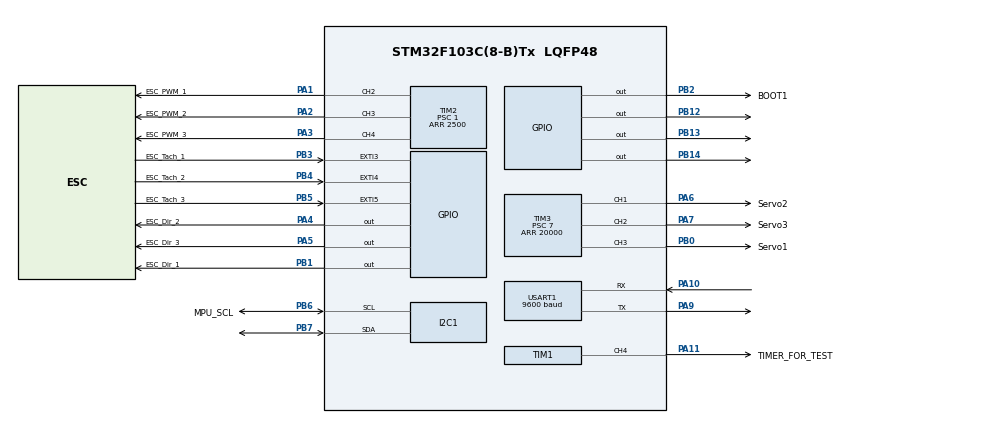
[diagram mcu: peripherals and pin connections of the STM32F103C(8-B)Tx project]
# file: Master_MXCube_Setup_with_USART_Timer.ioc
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Mcu.Family=STM32F1
Mcu.Name=STM32F103C(8-B)Tx
Mcu.Package=LQFP48
NVIC.EXTI3_IRQn=true\:0\:0\:false\:false\:true\:true
NVIC.EXTI4_IRQn=true\:0\:0\:false\:false\:true\:true
NVIC.EXTI9_5_IRQn=true\:0\:0\:false\:false\:true\:true
NVIC.PriorityGroup=NVIC_PRIORITYGROUP_4
PA1.GPIO_Label=ESC_PWM_1
PA1.Signal=S_TIM2_CH2
PA10.Mode=Asynchronous
PA10.Signal=USART1_RX
PA11.GPIO_Label=TIMER_FOR_TEST
PA11.Signal=S_TIM1_CH4
PA13.GPIO_Label=DEBUG_SWDIO
PA13.Mode=Serial_Wire
PA13.Signal=SYS_JTMS-SWDIO
PA14.GPIO_Label=DEBUG_SWCLK
PA14.Mode=Serial_Wire
PA14.Signal=SYS_JTCK-SWCLK
PA2.GPIO_Label=ESC_PWM_2
PA2.Signal=S_TIM2_CH3
PA3.GPIO_Label=ESC_PWM_3
PA3.Signal=S_TIM2_CH4
PA4.GPIO_Label=ESC_Dir_2
PA4.GPIO_PuPd=GPIO_PULLDOWN
PA4.Signal=GPIO_Output
PA5.GPIO_Label=ESC_Dir_3
PA5.GPIO_PuPd=GPIO_PULLDOWN
PA5.Signal=GPIO_Output
PA6.GPIO_Label=Servo2
PA6.Signal=S_TIM3_CH1
PA7.GPIO_Label=Servo3
PA7.Signal=S_TIM3_CH2
PA9.Mode=Asynchronous
PA9.Signal=USART1_TX
PB0.GPIO_Label=Servo1
PB0.Signal=S_TIM3_CH3
PB1.GPIO_Label=ESC_Dir_1
PB1.GPIO_PuPd=GPIO_PULLDOWN
PB1.Signal=GPIO_Output
PB12.Signal=GPIO_Output
PB13.Signal=GPIO_Output
PB14.Signal=GPIO_Output
PB2.GPIO_Label=BOOT1
PB2.Signal=GPIO_Output
PB3.GPIO_Label=ESC_Tach_1
PB3.Signal=GPXTI3
PB4.GPIO_Label=ESC_Tach_2
PB4.Signal=GPXTI4
PB5.GPIO_Label=ESC_Tach_3
PB5.Signal=GPXTI5
PB6.GPIO_Label=MPU_SCL
PB6.Mode=I2C
PB6.Signal=I2C1_SCL
PB7.Mode=I2C
PB7.Signal=I2C1_SDA
ProjectManager.HeapSize=0x200
ProjectManager.StackSize=0x400
ProjectManager.TargetToolchain=TrueSTUDIO
RCC.APB1Freq_Value=8000000
RCC.APB2Freq_Value=8000000
SH.S_TIM1_CH4.0=TIM1_CH4,PWM Generation4 CH4
SH.S_TIM2_CH2.0=TIM2_CH2,PWM Generation2 CH2
SH.S_TIM2_CH3.0=TIM2_CH3,PWM Generation3 CH3
SH.S_TIM2_CH4.0=TIM2_CH4,PWM Generation4 CH4
SH.S_TIM3_CH1.0=TIM3_CH1,PWM Generation1 CH1
SH.S_TIM3_CH2.0=TIM3_CH2,PWM Generation2 CH2
SH.S_TIM3_CH3.0=TIM3_CH3,PWM Generation3 CH3
TIM1.Channel-PWM\ Generation4\ CH4=TIM_CHANNEL_4
TIM1.Period=32705
TIM1.Prescaler=243
TIM2.Channel-PWM\ Generation2\ CH2=TIM_CHANNEL_2
TIM2.Channel-PWM\ Generation3\ CH3=TIM_CHANNEL_3
TIM2.Channel-PWM\ Generation4\ CH4=TIM_CHANNEL_4
TIM2.Period=2500
TIM2.Prescaler=1
TIM3.Channel-PWM\ Generation1\ CH1=TIM_CHANNEL_1
TIM3.Channel-PWM\ Generation2\ CH2=TIM_CHANNEL_2
TIM3.Channel-PWM\ Generation3\ CH3=TIM_CHANNEL_3
TIM3.Period=20000
TIM3.Prescaler=7
USART1.BaudRate=9600
USART1.VirtualMode=VM_ASYNC
VP_TIM1_VS_ClockSourceINT.Mode=Internal
VP_TIM2_VS_ClockSourceINT.Mode=Internal
VP_TIM3_VS_ClockSourceINT.Mode=Internal
board=custom

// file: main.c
/**
  ******************************************************************************
  * @file           : main.c
  * @brief          : Main program body
  ******************************************************************************
  ** This notice applies to any and all portions of this file
  * that are not between comment pairs USER CODE BEGIN and
  * USER CODE END. Other portions of this file, whether
  * inserted by the user or by software development tools
  * are owned by their respective copyright owners.
  *
  * COPYRIGHT(c) 2019 STMicroelectronics
  *
  * Redistribution and use in source and binary forms, with or without modification,
  * are permitted provided that the following conditions are met:
  *   1. Redistributions of source code must retain the above copyright notice,
  *      this list of conditions and the following disclaimer.
  *   2. Redistributions in binary form must reproduce the above copyright notice,
  *      this list of conditions and the following disclaimer in the documentation
  *      and/or other materials provided with the distribution.
  *   3. Neither the name of STMicroelectronics nor the names of its contributors
  *      may be used to endorse or promote products derived from this software
  *      without specific prior written permission.
  *
  * THIS SOFTWARE IS PROVIDED BY THE COPYRIGHT HOLDERS AND CONTRIBUTORS "AS IS"
  * AND ANY EXPRESS OR IMPLIED WARRANTIES, INCLUDING, BUT NOT LIMITED TO, THE
  * IMPLIED WARRANTIES OF MERCHANTABILITY AND FITNESS FOR A PARTICULAR PURPOSE ARE
  * DISCLAIMED. IN NO EVENT SHALL THE COPYRIGHT HOLDER OR CONTRIBUTORS BE LIABLE
  * FOR ANY DIRECT, INDIRECT, INCIDENTAL, SPECIAL, EXEMPLARY, OR CONSEQUENTIAL
  * DAMAGES (INCLUDING, BUT NOT LIMITED TO, PROCUREMENT OF SUBSTITUTE GOODS OR
  * SERVICES; LOSS OF USE, DATA, OR PROFITS; OR BUSINESS INTERRUPTION) HOWEVER
  * CAUSED AND ON ANY THEORY OF LIABILITY, WHETHER IN CONTRACT, STRICT LIABILITY,
  * OR TORT (INCLUDING NEGLIGENCE OR OTHERWISE) ARISING IN ANY WAY OUT OF THE USE
  * OF THIS SOFTWARE, EVEN IF ADVISED OF THE POSSIBILITY OF SUCH DAMAGE.
  *
  ******************************************************************************
  */
#include "main.h"
#include "stm32f1xx_hal.h"

/* USER CODE BEGIN Includes */
#include <stdlib.h>
/* USER CODE END Includes */

I2C_HandleTypeDef hi2c1;

TIM_HandleTypeDef htim1;
TIM_HandleTypeDef htim2;
TIM_HandleTypeDef htim3;

UART_HandleTypeDef huart1;

/* USER CODE BEGIN PV */
/* Private variables ---------------------------------------------------------*/
	uint32_t count1 = 2;
	uint32_t countPrev1 = 1;
	uint32_t dummy1;
	int32_t stepCount1 = 600;
	int16_t freq1 = 0;

/* USER CODE END PV */

void SystemClock_Config(void);
static void MX_GPIO_Init(void);
static void MX_USART1_UART_Init(void);
static void MX_I2C1_Init(void);
static void MX_TIM2_Init(void);
static void MX_TIM3_Init(void);
static void MX_TIM1_Init(void);

void HAL_TIM_MspPostInit(TIM_HandleTypeDef *htim);

/* USER CODE BEGIN PFP */
/* Private function prototypes -----------------------------------------------*/
void toggleLED(){
		count1 = (uint32_t)__HAL_TIM_GET_COUNTER(&htim1); // Gets current counter value when interrupt is triggered

		if(count1 != countPrev1){
			  		  stepCount1 = count1 - countPrev1;
			  		  if(stepCount1 < 0){
			  			  stepCount1 = stepCount1 + 32705; // accounts for a roll over in the timer
			  		  }

			  		  freq1 =  32705/stepCount1; // PWM Period * number of steps in a period / number of steps counted

			  		  dummy1 = countPrev1;
			  		  countPrev1 = count1;
			  	  }

	}

/* USER CODE END PFP */

/* USER CODE BEGIN 0 */

//Stuff for Bluetooth
uint8_t dataRX[10];
uint8_t dataTX[100];
uint8_t loopCount;

//Stuff for MPU
uint8_t i2cBuff[15];
uint16_t mpu6050Address = 0xD0;
int16_t gx,gy,gz,ax,ay,az;
float Xang, Yang, ZangVel, XangVel, YangVel, Zang, Xacc, Yacc, Zacc;
uint8_t outstrX[10];
uint8_t outstrY[10];
uint8_t outstrZ[10];

/* USER CODE END 0 */

int main(void)
{

  /* MCU Configuration----------------------------------------------------------*/

  /* Reset of all peripherals, Initializes the Flash interface and the Systick. */
  HAL_Init();

  /* Configure the system clock */
  SystemClock_Config();

  /* Initialize all configured peripherals */
  MX_GPIO_Init();
  MX_USART1_UART_Init();
  MX_I2C1_Init();
  MX_TIM2_Init();
  MX_TIM3_Init();
  MX_TIM1_Init();
  /* USER CODE BEGIN 2 */

  HAL_TIM_PWM_Start(&htim2, TIM_CHANNEL_2);
  HAL_TIM_PWM_Start(&htim3, TIM_CHANNEL_3);
  HAL_TIM_PWM_Start(&htim1, TIM_CHANNEL_4);

  //Wake up MPU
    i2cBuff[0] = 0x6B;
    i2cBuff[1] = 0x00;
    HAL_I2C_Master_Transmit(&hi2c1, mpu6050Address, i2cBuff, 2, 100);

    //Set Gyro Range
    i2cBuff[0] = 0x27;
    i2cBuff[1] = 0x00;
    HAL_I2C_Master_Transmit(&hi2c1, mpu6050Address, i2cBuff, 2, 100);

  /* USER CODE END 2 */

  /* Infinite loop */
  /* USER CODE BEGIN WHILE */
  while (1)
  {
	  __HAL_TIM_SET_COMPARE(&htim1, TIM_CHANNEL_4, 16352);
	  __HAL_TIM_SET_COMPARE(&htim2, TIM_CHANNEL_2, 1500);
	  __HAL_TIM_SET_COMPARE(&htim3, TIM_CHANNEL_3, 10000);

  /* USER CODE END WHILE */

  /* USER CODE BEGIN 3 */
	  //For testing
	  	  	  HAL_GPIO_WritePin(GPIOB, GPIO_PIN_14, 1);

	  	  	  /*
	  	  	  //Get gyroscope info
	  	  	  i2cBuff[0]= 0x3B; //Gyroscope addresses
	  	  	  HAL_I2C_Master_Transmit(&hi2c1, mpu6050Address, i2cBuff, 1, 20);
	  	  	  i2cBuff[1] = 0x00;
	  	  	  HAL_I2C_Master_Receive(&hi2c1, mpu6050Address, &i2cBuff[1], 14, 20);
	  	  	   */
	  	  	  ax = (i2cBuff[1]<<8 | i2cBuff[2]);
	  	  	  ay = (i2cBuff[3]<<8 | i2cBuff[4]);
	  	  	  az = (i2cBuff[5]<<8 | i2cBuff[6]);

	  	  	  gx = (i2cBuff[9]<<8  | i2cBuff[10]);
	  	  	  gy = (i2cBuff[11]<<8 | i2cBuff[12]);
	  	  	  gz = (i2cBuff[13]<<8 | i2cBuff[14]);

	  	  	  //Add offsets
	  	  	  gx +=  485; //X-Offset
	  	  	  gy += -104; //Y-Offset
	  	  	  gz += -100; //Z-Offset
	  	  	  ax += 82; //X-Offset
	  	  	  ay += 655; //Y-Offset
	  	  	  az += 1802; //Z-Offset

	  	  	  //Convert to deg/sec
	  	  	  XangVel = ((float)gx / 32768) * 250;
	  	  	  YangVel = ((float)gy / 32768) * 250;
	  	  	  ZangVel = ((float)gz / 32768) * 250;

	  	  	  //Integrate angular velocities
	  	  	  Xang += XangVel * 0.01; //Using a sampling rate of 10 ms
	  	  	  Yang += YangVel * 0.01;
	  	  	  Zang += ZangVel * 0.01;

	  	  	  //Convert to g
	  	  	  Xacc = ((float)ax / 32768) * 2;
	  	  	  Yacc = ((float)ay / 32768) * 2;
	  	  	  Zacc = ((float)az / 32768) * 2;

	  	  	  if (loopCount == 0) {
	  	  	  //Send info to Bluetooth for testing purposes
	  	  	  //There is no support for printing floats in the STM32
	  	  	  //This converts the floats to a series of three ints
	  	  	  char *XSign = (Xacc < 0) ? "-" : "";
	  	  	  float XVal = (Xacc < 0) ? -Xacc : Xacc;
	  	  	  int XInt1 = XVal;                      // Get the integer
	  	  	  float XFrac = XVal - XInt1;            // Get fraction
	  	  	  int XInt2 = trunc(XFrac * 100);        // Turn into integer

	  	  	  char *YSign = (Yacc < 0) ? "-" : "";
	  	  	  float YVal = (Yacc < 0) ? -Yacc : Yacc;
	  	  	  int YInt1 = YVal;                      // Get the integer
	  	  	  float YFrac = YVal - YInt1;            // Get fraction
	  	  	  int YInt2 = trunc(YFrac * 100);        // Turn into integer

	  	  	  char *ZSign = (Zacc < 0) ? "-" : "";
	  	  	  float ZVal = (Zacc < 0) ? -Zacc : Zacc;
	  	  	  int ZInt1 = ZVal;                      // Get the integer
	  	  	  float ZFrac = ZVal - ZInt1;            // Get fraction
	  	  	  int ZInt2 = trunc(ZFrac * 100);        // Turn into integer
	  	  	  /*
	  	  	  sprintf(dataTX, "Xacc = %s%d.%02d, Yacc = %s%d.%02d, Zacc = %s%d.%02d\n",
	  	  	  		  XSign, XInt1, XInt2, YSign, YInt1, YInt2, ZSign, ZInt1, ZInt2);
	  	  	   */

	  	  	  sprintf(dataTX, "Frequency = %d\r\n", freq1);

	  	  	  //Send Bluetooth
	  	  	  //HAL_UART_Receive(&huart2, dataRX, 10, 1000);
	  	  	  HAL_UART_Transmit(&huart1, dataTX, strlen(dataTX), 1000);

	  	  	  }
	  	  	  loopCount++;

	  	  	  //For testing
	  	  	  HAL_GPIO_WritePin(GPIOB, GPIO_PIN_14, 0);
	  	  	  HAL_Delay(10);

  }
  /* USER CODE END 3 */

}

void SystemClock_Config(void)
{

  RCC_OscInitTypeDef RCC_OscInitStruct;
  RCC_ClkInitTypeDef RCC_ClkInitStruct;

    /**Initializes the CPU, AHB and APB busses clocks
    */
  RCC_OscInitStruct.OscillatorType = RCC_OSCILLATORTYPE_HSI;
  RCC_OscInitStruct.HSIState = RCC_HSI_ON;
  RCC_OscInitStruct.HSICalibrationValue = 16;
  RCC_OscInitStruct.PLL.PLLState = RCC_PLL_NONE;
  if (HAL_RCC_OscConfig(&RCC_OscInitStruct) != HAL_OK)
  {
    _Error_Handler(__FILE__, __LINE__);
  }

    /**Initializes the CPU, AHB and APB busses clocks
    */
  RCC_ClkInitStruct.ClockType = RCC_CLOCKTYPE_HCLK|RCC_CLOCKTYPE_SYSCLK
                              |RCC_CLOCKTYPE_PCLK1|RCC_CLOCKTYPE_PCLK2;
  RCC_ClkInitStruct.SYSCLKSource = RCC_SYSCLKSOURCE_HSI;
  RCC_ClkInitStruct.AHBCLKDivider = RCC_SYSCLK_DIV1;
  RCC_ClkInitStruct.APB1CLKDivider = RCC_HCLK_DIV1;
  RCC_ClkInitStruct.APB2CLKDivider = RCC_HCLK_DIV1;

  if (HAL_RCC_ClockConfig(&RCC_ClkInitStruct, FLASH_LATENCY_0) != HAL_OK)
  {
    _Error_Handler(__FILE__, __LINE__);
  }

    /**Configure the Systick interrupt time
    */
  HAL_SYSTICK_Config(HAL_RCC_GetHCLKFreq()/1000);

    /**Configure the Systick
    */
  HAL_SYSTICK_CLKSourceConfig(SYSTICK_CLKSOURCE_HCLK);

  /* SysTick_IRQn interrupt configuration */
  HAL_NVIC_SetPriority(SysTick_IRQn, 0, 0);
}

/* I2C1 init function */
static void MX_I2C1_Init(void)
{

  hi2c1.Instance = I2C1;
  hi2c1.Init.ClockSpeed = 100000;
  hi2c1.Init.DutyCycle = I2C_DUTYCYCLE_2;
  hi2c1.Init.OwnAddress1 = 0;
  hi2c1.Init.AddressingMode = I2C_ADDRESSINGMODE_7BIT;
  hi2c1.Init.DualAddressMode = I2C_DUALADDRESS_DISABLE;
  hi2c1.Init.OwnAddress2 = 0;
  hi2c1.Init.GeneralCallMode = I2C_GENERALCALL_DISABLE;
  hi2c1.Init.NoStretchMode = I2C_NOSTRETCH_DISABLE;
  if (HAL_I2C_Init(&hi2c1) != HAL_OK)
  {
    _Error_Handler(__FILE__, __LINE__);
  }

}

/* TIM1 init function */
static void MX_TIM1_Init(void)
{

  TIM_ClockConfigTypeDef sClockSourceConfig;
  TIM_MasterConfigTypeDef sMasterConfig;
  TIM_OC_InitTypeDef sConfigOC;
  TIM_BreakDeadTimeConfigTypeDef sBreakDeadTimeConfig;

  htim1.Instance = TIM1;
  htim1.Init.Prescaler = 243;
  htim1.Init.CounterMode = TIM_COUNTERMODE_UP;
  htim1.Init.Period = 32705;
  htim1.Init.ClockDivision = TIM_CLOCKDIVISION_DIV1;
  htim1.Init.RepetitionCounter = 0;
  htim1.Init.AutoReloadPreload = TIM_AUTORELOAD_PRELOAD_DISABLE;
  if (HAL_TIM_Base_Init(&htim1) != HAL_OK)
  {
    _Error_Handler(__FILE__, __LINE__);
  }

  sClockSourceConfig.ClockSource = TIM_CLOCKSOURCE_INTERNAL;
  if (HAL_TIM_ConfigClockSource(&htim1, &sClockSourceConfig) != HAL_OK)
  {
    _Error_Handler(__FILE__, __LINE__);
  }

  if (HAL_TIM_PWM_Init(&htim1) != HAL_OK)
  {
    _Error_Handler(__FILE__, __LINE__);
  }

  sMasterConfig.MasterOutputTrigger = TIM_TRGO_RESET;
  sMasterConfig.MasterSlaveMode = TIM_MASTERSLAVEMODE_DISABLE;
  if (HAL_TIMEx_MasterConfigSynchronization(&htim1, &sMasterConfig) != HAL_OK)
  {
    _Error_Handler(__FILE__, __LINE__);
  }

  sConfigOC.OCMode = TIM_OCMODE_PWM1;
  sConfigOC.Pulse = 0;
  sConfigOC.OCPolarity = TIM_OCPOLARITY_HIGH;
  sConfigOC.OCFastMode = TIM_OCFAST_DISABLE;
  sConfigOC.OCIdleState = TIM_OCIDLESTATE_RESET;
  sConfigOC.OCNIdleState = TIM_OCNIDLESTATE_RESET;
  if (HAL_TIM_PWM_ConfigChannel(&htim1, &sConfigOC, TIM_CHANNEL_4) != HAL_OK)
  {
    _Error_Handler(__FILE__, __LINE__);
  }

  sBreakDeadTimeConfig.OffStateRunMode = TIM_OSSR_DISABLE;
  sBreakDeadTimeConfig.OffStateIDLEMode = TIM_OSSI_DISABLE;
  sBreakDeadTimeConfig.LockLevel = TIM_LOCKLEVEL_OFF;
  sBreakDeadTimeConfig.DeadTime = 0;
  sBreakDeadTimeConfig.BreakState = TIM_BREAK_DISABLE;
  sBreakDeadTimeConfig.BreakPolarity = TIM_BREAKPOLARITY_HIGH;
  sBreakDeadTimeConfig.AutomaticOutput = TIM_AUTOMATICOUTPUT_DISABLE;
  if (HAL_TIMEx_ConfigBreakDeadTime(&htim1, &sBreakDeadTimeConfig) != HAL_OK)
  {
    _Error_Handler(__FILE__, __LINE__);
  }

  HAL_TIM_MspPostInit(&htim1);

}

/* TIM2 init function */
static void MX_TIM2_Init(void)
{

  TIM_ClockConfigTypeDef sClockSourceConfig;
  TIM_MasterConfigTypeDef sMasterConfig;
  TIM_OC_InitTypeDef sConfigOC;

  htim2.Instance = TIM2;
  htim2.Init.Prescaler = 1;
  htim2.Init.CounterMode = TIM_COUNTERMODE_UP;
  htim2.Init.Period = 2500;
  htim2.Init.ClockDivision = TIM_CLOCKDIVISION_DIV1;
  htim2.Init.AutoReloadPreload = TIM_AUTORELOAD_PRELOAD_DISABLE;
  if (HAL_TIM_Base_Init(&htim2) != HAL_OK)
  {
    _Error_Handler(__FILE__, __LINE__);
  }

  sClockSourceConfig.ClockSource = TIM_CLOCKSOURCE_INTERNAL;
  if (HAL_TIM_ConfigClockSource(&htim2, &sClockSourceConfig) != HAL_OK)
  {
    _Error_Handler(__FILE__, __LINE__);
  }

  if (HAL_TIM_PWM_Init(&htim2) != HAL_OK)
  {
    _Error_Handler(__FILE__, __LINE__);
  }

  sMasterConfig.MasterOutputTrigger = TIM_TRGO_RESET;
  sMasterConfig.MasterSlaveMode = TIM_MASTERSLAVEMODE_DISABLE;
  if (HAL_TIMEx_MasterConfigSynchronization(&htim2, &sMasterConfig) != HAL_OK)
  {
    _Error_Handler(__FILE__, __LINE__);
  }

  sConfigOC.OCMode = TIM_OCMODE_PWM1;
  sConfigOC.Pulse = 0;
  sConfigOC.OCPolarity = TIM_OCPOLARITY_HIGH;
  sConfigOC.OCFastMode = TIM_OCFAST_DISABLE;
  if (HAL_TIM_PWM_ConfigChannel(&htim2, &sConfigOC, TIM_CHANNEL_2) != HAL_OK)
  {
    _Error_Handler(__FILE__, __LINE__);
  }

  if (HAL_TIM_PWM_ConfigChannel(&htim2, &sConfigOC, TIM_CHANNEL_3) != HAL_OK)
  {
    _Error_Handler(__FILE__, __LINE__);
  }

  if (HAL_TIM_PWM_ConfigChannel(&htim2, &sConfigOC, TIM_CHANNEL_4) != HAL_OK)
  {
    _Error_Handler(__FILE__, __LINE__);
  }

  HAL_TIM_MspPostInit(&htim2);

}

/* TIM3 init function */
static void MX_TIM3_Init(void)
{

  TIM_ClockConfigTypeDef sClockSourceConfig;
  TIM_MasterConfigTypeDef sMasterConfig;
  TIM_OC_InitTypeDef sConfigOC;

  htim3.Instance = TIM3;
  htim3.Init.Prescaler = 7;
  htim3.Init.CounterMode = TIM_COUNTERMODE_UP;
  htim3.Init.Period = 20000;
  htim3.Init.ClockDivision = TIM_CLOCKDIVISION_DIV1;
  htim3.Init.AutoReloadPreload = TIM_AUTORELOAD_PRELOAD_DISABLE;
  if (HAL_TIM_Base_Init(&htim3) != HAL_OK)
  {
    _Error_Handler(__FILE__, __LINE__);
  }

  sClockSourceConfig.ClockSource = TIM_CLOCKSOURCE_INTERNAL;
  if (HAL_TIM_ConfigClockSource(&htim3, &sClockSourceConfig) != HAL_OK)
  {
    _Error_Handler(__FILE__, __LINE__);
  }

  if (HAL_TIM_PWM_Init(&htim3) != HAL_OK)
  {
    _Error_Handler(__FILE__, __LINE__);
  }

  sMasterConfig.MasterOutputTrigger = TIM_TRGO_RESET;
  sMasterConfig.MasterSlaveMode = TIM_MASTERSLAVEMODE_DISABLE;
  if (HAL_TIMEx_MasterConfigSynchronization(&htim3, &sMasterConfig) != HAL_OK)
  {
    _Error_Handler(__FILE__, __LINE__);
  }

  sConfigOC.OCMode = TIM_OCMODE_PWM1;
  sConfigOC.Pulse = 0;
  sConfigOC.OCPolarity = TIM_OCPOLARITY_HIGH;
  sConfigOC.OCFastMode = TIM_OCFAST_DISABLE;
  if (HAL_TIM_PWM_ConfigChannel(&htim3, &sConfigOC, TIM_CHANNEL_1) != HAL_OK)
  {
    _Error_Handler(__FILE__, __LINE__);
  }

  if (HAL_TIM_PWM_ConfigChannel(&htim3, &sConfigOC, TIM_CHANNEL_2) != HAL_OK)
  {
    _Error_Handler(__FILE__, __LINE__);
  }

  if (HAL_TIM_PWM_ConfigChannel(&htim3, &sConfigOC, TIM_CHANNEL_3) != HAL_OK)
  {
    _Error_Handler(__FILE__, __LINE__);
  }

  HAL_TIM_MspPostInit(&htim3);

}

/* USART1 init function */
static void MX_USART1_UART_Init(void)
{

  huart1.Instance = USART1;
  huart1.Init.BaudRate = 9600;
  huart1.Init.WordLength = UART_WORDLENGTH_8B;
  huart1.Init.StopBits = UART_STOPBITS_1;
  huart1.Init.Parity = UART_PARITY_NONE;
  huart1.Init.Mode = UART_MODE_TX_RX;
  huart1.Init.HwFlowCtl = UART_HWCONTROL_NONE;
  huart1.Init.OverSampling = UART_OVERSAMPLING_16;
  if (HAL_UART_Init(&huart1) != HAL_OK)
  {
    _Error_Handler(__FILE__, __LINE__);
  }

}

/** Configure pins as
        * Analog
        * Input
        * Output
        * EVENT_OUT
        * EXTI
*/
static void MX_GPIO_Init(void)
{

  GPIO_InitTypeDef GPIO_InitStruct;

  /* GPIO Ports Clock Enable */
  __HAL_RCC_GPIOA_CLK_ENABLE();
  __HAL_RCC_GPIOB_CLK_ENABLE();

  /*Configure GPIO pin Output Level */
  HAL_GPIO_WritePin(GPIOA, ESC_Dir_2_Pin|ESC_Dir_3_Pin, GPIO_PIN_RESET);

  /*Configure GPIO pin Output Level */
  HAL_GPIO_WritePin(GPIOB, ESC_Dir_1_Pin|BOOT1_Pin|GPIO_PIN_12|GPIO_PIN_13
                          |GPIO_PIN_14, GPIO_PIN_RESET);

  /*Configure GPIO pins : ESC_Dir_2_Pin ESC_Dir_3_Pin */
  GPIO_InitStruct.Pin = ESC_Dir_2_Pin|ESC_Dir_3_Pin;
  GPIO_InitStruct.Mode = GPIO_MODE_OUTPUT_PP;
  GPIO_InitStruct.Pull = GPIO_PULLDOWN;
  GPIO_InitStruct.Speed = GPIO_SPEED_FREQ_LOW;
  HAL_GPIO_Init(GPIOA, &GPIO_InitStruct);

  /*Configure GPIO pin : ESC_Dir_1_Pin */
  GPIO_InitStruct.Pin = ESC_Dir_1_Pin;
  GPIO_InitStruct.Mode = GPIO_MODE_OUTPUT_PP;
  GPIO_InitStruct.Pull = GPIO_PULLDOWN;
  GPIO_InitStruct.Speed = GPIO_SPEED_FREQ_LOW;
  HAL_GPIO_Init(ESC_Dir_1_GPIO_Port, &GPIO_InitStruct);

  /*Configure GPIO pins : BOOT1_Pin PB12 PB13 PB14 */
  GPIO_InitStruct.Pin = BOOT1_Pin|GPIO_PIN_12|GPIO_PIN_13|GPIO_PIN_14;
  GPIO_InitStruct.Mode = GPIO_MODE_OUTPUT_PP;
  GPIO_InitStruct.Pull = GPIO_NOPULL;
  GPIO_InitStruct.Speed = GPIO_SPEED_FREQ_LOW;
  HAL_GPIO_Init(GPIOB, &GPIO_InitStruct);

  /*Configure GPIO pins : ESC_Tach_1_Pin ESC_Tach_2_Pin ESC_Tach_3_Pin */
  GPIO_InitStruct.Pin = ESC_Tach_1_Pin|ESC_Tach_2_Pin|ESC_Tach_3_Pin;
  GPIO_InitStruct.Mode = GPIO_MODE_IT_RISING;
  GPIO_InitStruct.Pull = GPIO_NOPULL;
  HAL_GPIO_Init(GPIOB, &GPIO_InitStruct);

  /* EXTI interrupt init*/
  HAL_NVIC_SetPriority(EXTI3_IRQn, 0, 0);
  HAL_NVIC_EnableIRQ(EXTI3_IRQn);

  HAL_NVIC_SetPriority(EXTI4_IRQn, 0, 0);
  HAL_NVIC_EnableIRQ(EXTI4_IRQn);

  HAL_NVIC_SetPriority(EXTI9_5_IRQn, 0, 0);
  HAL_NVIC_EnableIRQ(EXTI9_5_IRQn);

}

void _Error_Handler(char *file, int line)
{
  while(1)
  {
  }
}

/************************ (C) COPYRIGHT STMicroelectronics *****END OF FILE****/
